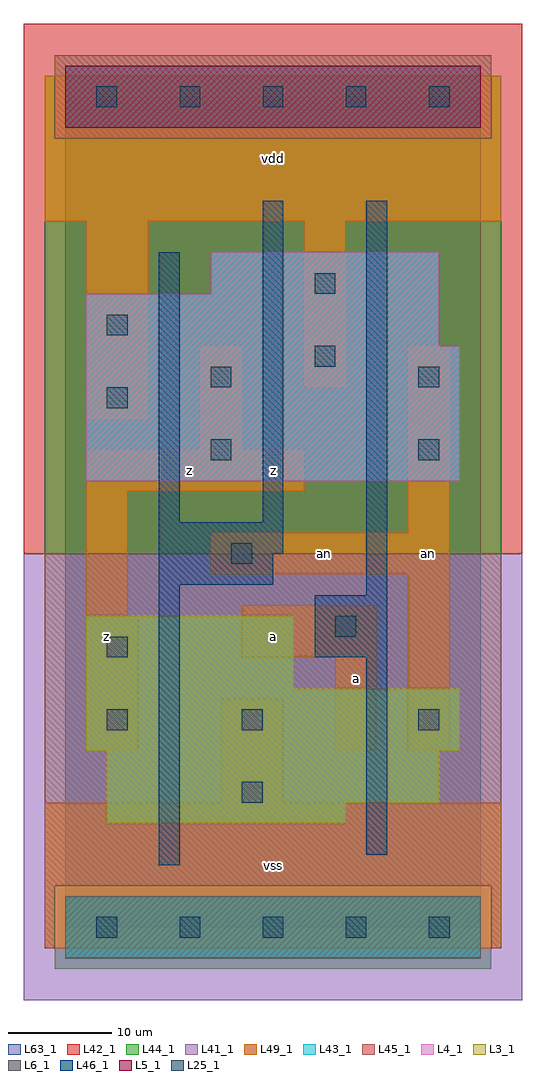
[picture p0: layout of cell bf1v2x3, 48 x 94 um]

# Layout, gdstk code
import gdstk
lib = gdstk.Library(unit=1e-6, precision=1e-09)
def R(c, l, rs):  # rectangles x0, y0, x1, y1
    for r in rs: c.add(gdstk.rectangle(r[:2], r[2:], *l))
def A(c, l, x, y, w, h, nx, ny, dx, dy):  # array of equal rectangles
    R(c, l, [(x+i*dx, y+j*dy, x+i*dx+w, y+j*dy+h) for i in range(nx) for j in range(ny)])
L3_1 = (3, 1)
L4_1 = (4, 1)
L5_1 = (5, 1)
L6_1 = (6, 1)
L25_1 = (25, 1)
L41_1 = (41, 1)
L42_1 = (42, 1)
L43_1 = (43, 1)
L44_1 = (44, 1)
L45_1 = (45, 1)
L46_1 = (46, 1)
L49_1 = (49, 1)
L63_1 = (63, 1)

bf1v2x3 = lib.new_cell('bf1v2x3')
R(bf1v2x3, L3_1, [(4,10,27,12), (4,12,36,17), (2,17,38,23), (2,23,22,30)])
R(bf1v2x3, L4_1, [(2,43,38,56), (2,56,36,61), (14,61,36,65)])
R(bf1v2x3, L5_1, [(0,77,40,83)])
R(bf1v2x3, L6_1, [(0,-3,40,3), (0,-3,40,3)])
A(bf1v2x3, L25_1, 3, -1, 2, 2, 5, 2, 8, 80)
R(bf1v2x3, L25_1, [(17,12,19,14), (4,19,6,21), (17,19,19,21), (34,19,36,21), (4,26,6,28), (26,28,28,30), (16,35,18,37), (14,45,16,47), (34,45,36,47), (4,50,6,52), (14,52,16,54), (34,52,36,54), (24,54,26,56), (4,57,6,59), (24,61,26,63)])
R(bf1v2x3, L41_1, [(-4,-7,44,36)])
R(bf1v2x3, L42_1, [(-4,36,44,87)])
R(bf1v2x3, L43_1, [(0,-3,40,3), (4,10,27,12), (4,12,36,17), (2,17,38,23), (2,23,22,30), (2,43,38,56), (2,56,36,61), (14,61,36,65), (0,77,40,83)])
R(bf1v2x3, L44_1, [(-1,-4,41,4), (-2,36,42,76), (-2,76,-1,82), (41,76,42,82)])
R(bf1v2x3, L45_1, [(-2,-2,-1,4), (41,-2,42,4), (-2,4,42,36), (-1,76,41,84)])
R(bf1v2x3, L46_1, [(9,6,11,33), (29,7,31,26), (24,26,31,32), (29,32,31,70), (9,33,20,36), (9,36,21,39), (9,39,11,65), (19,39,21,70)])
R(bf1v2x3, L49_1, [(-2,-2,42,12), (15,12,21,22), (2,17,7,30), (26,17,30,26), (33,17,37,34), (17,26,30,31), (2,30,6,42), (14,34,37,38), (33,38,37,56), (2,42,23,46), (13,46,17,56), (2,49,8,68), (23,52,27,68), (-2,68,42,82)])
R(bf1v2x3, L63_1, [(0,0,40,80)])
bf1v2x3.add(gdstk.Label('z', (4,28), layer=49, texttype=1))
bf1v2x3.add(gdstk.Label('z', (12,44), layer=49, texttype=1))
bf1v2x3.add(gdstk.Label('vss', (20,6), layer=49, texttype=1))
bf1v2x3.add(gdstk.Label('a', (20,28), layer=49, texttype=1))
bf1v2x3.add(gdstk.Label('a', (28,24), layer=49, texttype=1))
bf1v2x3.add(gdstk.Label('z', (20,44), layer=49, texttype=1))
bf1v2x3.add(gdstk.Label('vdd', (20,74), layer=49, texttype=1))
bf1v2x3.add(gdstk.Label('an', (25,36), layer=49, texttype=1))
bf1v2x3.add(gdstk.Label('an', (35,36), layer=49, texttype=1))

lib.write_gds('bf1v2x3.gds')
